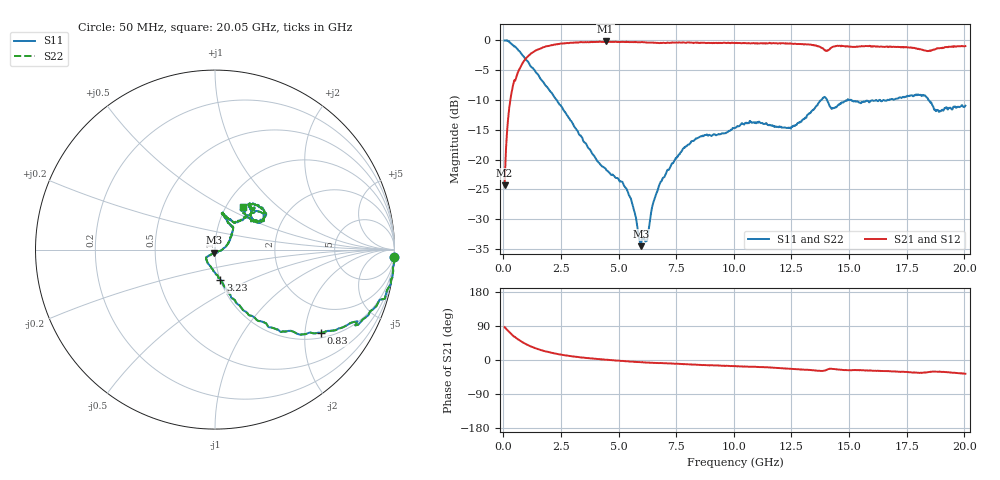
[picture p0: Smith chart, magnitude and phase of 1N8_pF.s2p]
! 500R07S1R8BV4
! Data taken April 11, 2003
! Data taken on a HP 8720C VNA using a series-through test fixture and TRL* de-embedding
#	mhz	s	ma	r	50
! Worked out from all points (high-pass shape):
!   1001 points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, 50 MHz to 20.05 GHz, reference 50 ohm
!   highest |S21| = -0.15 dB at 4.43 GHz (marker M1); lowest = -24.3 dB at 50 MHz (marker M2)
!   |S21| within 3 dB of the highest: 949.6 MHz to end of sweep
!   lowest |S11| = -34.6 dB at 5.97 GHz (marker M3), VSWR 1.04, Z = 49.4 - j1.76 ohm
!   |S11| at or under -10 dB: 2.315 GHz to 13.79 GHz (11.47 GHz wide, 143 % of centre); 15.1 GHz to 16.17 GHz (1.073 GHz wide, 6.86 % of centre); 18.44 GHz to end of sweep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
!   |S22| runs from -34.6 to 0.0 dB; largest |S21 - S12| = 0
!   S11 on the Smith chart (normalised r, x): 50 MHz: 0, -51; 830 MHz: 1.14, -2.43; 3.23 GHz: 1.00, -0.35; 20.05 GHz: 1.20, +0.62
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50  1 -2.2  0.06076 86.7  0.06076 86.7  1 -2.2
210  0.9844 -13.3  0.2283 76.3  0.2283 76.3  0.9844 -13.3
350  0.9304 -21.6  0.363 68.2  0.363 68.2  0.9304 -21.6
830  0.7515 -38.1  0.6451 46.7  0.6451 46.7  0.7515 -38.1
1770  0.4344 -60.0  0.8804 23.7  0.8804 23.7  0.4344 -60.0
3230  0.1717 -79.9  0.9624 7.9  0.9624 7.9  0.1717 -79.9
3390  0.1551 -83.1  0.9675 6.8  0.9675 6.8  0.1551 -83.1
4430  0.08398 -119.9  0.9825 0.7  0.9825 0.7  0.08398 -119.9
5370  0.05496 -137.2  0.9699 -3.5  0.9699 -3.5  0.05496 -137.2
5970  0.01872 -107.9  0.9661 -5.8  0.9661 -5.8  0.01872 -107.9
6230  0.02086 -23.9  0.962 -6.9  0.962 -6.9  0.02086 -23.9
6730  0.05878 12.8  0.9505 -8.2  0.9505 -8.2  0.05878 12.8
8230  0.1435 46.9  0.9577 -12.1  0.9577 -12.1  0.1435 46.9
10050  0.184 72.0  0.9522 -16.0  0.9522 -16.0  0.184 72.0
12390  0.184 56.3  0.9396 -23.2  0.9396 -23.2  0.184 56.3
13390  0.256 47.0  0.9173 -26.8  0.9173 -26.8  0.256 47.0
13910  0.3328 37.8  0.8407 -28.4  0.8407 -28.4  0.3328 37.8
14310  0.27 39.2  0.8866 -23.8  0.8866 -23.8  0.27 39.2
16730  0.3156 53.3  0.8863 -29.3  0.8863 -29.3  0.3156 53.3
18290  0.346 34.6  0.8246 -32.9  0.8246 -32.9  0.346 34.6
18810  0.2599 39.4  0.8575 -30.7  0.8575 -30.7  0.2599 39.4
20050  0.2833 56.1  0.8971 -36.3  0.8971 -36.3  0.2833 56.1
